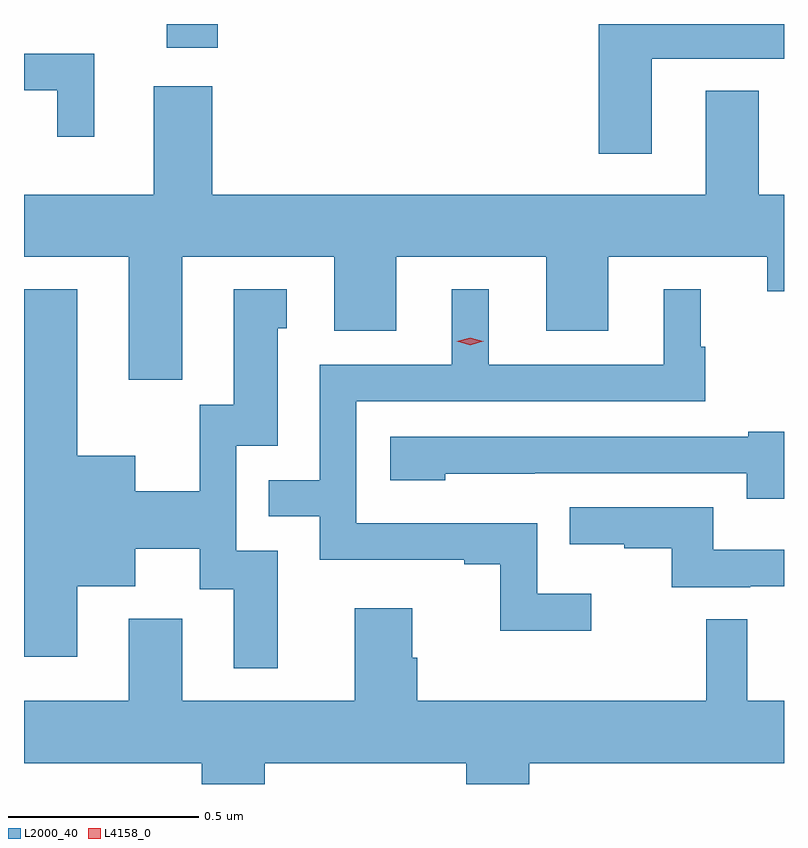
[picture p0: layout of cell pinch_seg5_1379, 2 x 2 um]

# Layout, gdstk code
import gdstk
lib = gdstk.Library(unit=1e-6, precision=1e-09)
def P(c, l, *ps):  # polygons
    for p in ps: c.add(gdstk.Polygon(p, *l))
L2000_40 = (2000, 40)
L4158_0 = (4158, 0)

pinch_seg5_1379 = lib.new_cell('pinch_seg5_1379')
P(pinch_seg5_1379, L2000_40, [(279.193,890.582),(279.541,890.582),(279.541,890.673),(279.053,890.673),(279.053,890.331),(279.193,890.331)],
  [(278.051,890.673),(277.787,890.673),(277.787,890.672),(277.916,890.672),(277.916,890.61),(278.051,890.61)],
  [(277.726,890.595),(277.541,890.595),(277.541,890.499),(277.628,890.499),(277.628,890.376),(277.726,890.376)],
  [(277.957,890.06),(278.357,890.06),(278.357,889.866),(278.521,889.866),(278.521,890.06),(278.915,890.06),(278.915,889.866),(279.079,889.866),(279.079,890.06),(279.497,890.06),(279.497,889.97),(279.541,889.97),(279.541,890.224),(279.475,890.224),(279.475,890.497),(279.335,890.497),(279.335,890.224),(278.036,890.224),(278.036,890.509),(277.883,890.509),(277.883,890.224),(277.541,890.224),(277.541,890.06),(277.817,890.06),(277.817,889.737),(277.957,889.737)],
  [(278.209,889.287),(278.1,889.287),(278.1,889.563),(278.209,889.563),(278.209,889.872),(278.233,889.872),(278.233,889.975),(278.093,889.975),(278.093,889.671),(278.004,889.671),(278.004,889.444),(277.834,889.444),(277.834,889.537),(277.681,889.537),(277.681,889.975),(277.541,889.975),(277.541,889.008),(277.681,889.008),(277.681,889.193),(277.834,889.193),(277.834,889.292),(278.003,889.292),(278.003,889.186),(278.093,889.186),(278.093,888.978),(278.209,888.978)],
  [(279.034,889.174),(278.892,889.174),(278.892,889.359),(278.415,889.359),(278.415,889.68),(279.334,889.68),(279.334,889.824),(279.322,889.824),(279.322,889.975),(279.224,889.975),(279.224,889.776),(278.764,889.776),(278.764,889.975),(278.666,889.975),(278.666,889.776),(278.319,889.776),(278.319,889.473),(278.185,889.473),(278.185,889.377),(278.319,889.377),(278.319,889.263),(278.699,889.263),(278.699,889.251),(278.794,889.251),(278.794,889.076),(279.034,889.076)],
  [(279.541,889.6),(279.447,889.6),(279.447,889.587),(278.505,889.587),(278.505,889.472),(278.649,889.472),(278.649,889.49),(278.885,889.49),(278.885,889.491),(279.443,889.491),(279.443,889.424),(279.541,889.424)],
  [(279.452,889.194),(279.541,889.194),(279.541,889.289),(279.355,889.289),(279.355,889.401),(278.977,889.401),(278.977,889.304),(279.121,889.304),(279.121,889.293),(279.245,889.293),(279.245,889.191),(279.452,889.191)],
  [(278.174,888.728),(278.705,888.728),(278.705,888.673),(278.87,888.673),(278.87,888.728),(279.541,888.728),(279.541,888.892),(279.444,888.892),(279.444,889.106),(279.336,889.106),(279.336,888.892),(278.576,888.892),(278.576,889.005),(278.563,889.005),(278.563,889.135),(278.411,889.135),(278.411,888.892),(277.957,888.892),(277.957,889.108),(277.817,889.108),(277.817,888.892),(277.541,888.892),(277.541,888.728),(278.009,888.728),(278.009,888.673),(278.174,888.673)])
P(pinch_seg5_1379, L4158_0, [(278.715,889.828),(278.68,889.838),(278.679,889.838),(278.68,889.838),(278.715,889.848),(278.75,889.838),(278.751,889.838),(278.75,889.838)])

lib.write_gds('pinch_seg5_1379.gds')
